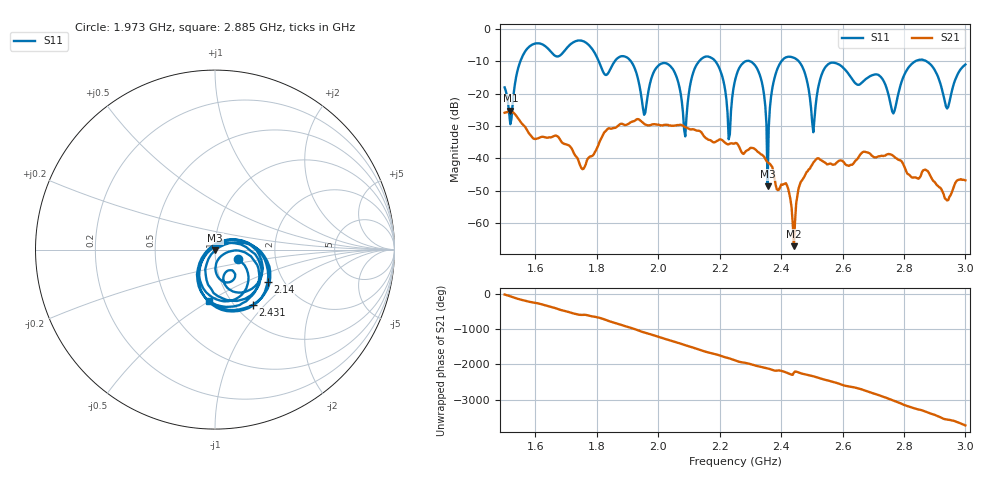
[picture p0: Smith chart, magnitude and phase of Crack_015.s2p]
# HZ S RI R 50
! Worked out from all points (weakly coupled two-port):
!   404 points, 1.5 GHz to 3 GHz, reference 50 ohm
!   highest |S21| = -25.28 dB at 1.519 GHz (marker M1); lowest = -67.2 dB at 2.442 GHz (marker M2)
!   lowest |S11| = -48.6 dB at 2.356 GHz (marker M3), VSWR 1.01, Z = 50 - j0.369 ohm
!   |S11| at or under -10 dB: 1.911 GHz to 2.133 GHz (221.3 MHz wide, 10.9 % of centre); 2.458 GHz to 2.836 GHz (378.5 MHz wide, 14.3 % of centre); 2.874 GHz to end of sweep (the widest 3 of 7)
!   S12 and S22 are empty: the file has one direction only
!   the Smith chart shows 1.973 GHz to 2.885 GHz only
!   S11 on the Smith chart (normalised r, x): 1.973 GHz: 1.29, -0.14; 2.14 GHz: 1.66, -0.68; 2.431 GHz: 1.20, -0.86; 2.885 GHz: 0.79, -0.50
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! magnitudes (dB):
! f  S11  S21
! 1.5 GHz  -18.0  -25.9
! 1.519 GHz  -29.4  -25.3
! 1.578 GHz  -5.6  -32.1
! 1.753 GHz  -3.6  -43.3
! 1.973 GHz  -17.1  -29.8
! 2.002 GHz  -11.1  -29.6
! 2.088 GHz  -33.2  -30.3
! 2.14 GHz  -9.3  -31.9
! 2.196 GHz  -11.5  -34.4
! 2.23 GHz  -34.1  -35.6
! 2.252 GHz  -15.2  -35.2
! 2.319 GHz  -11.7  -37.4
! 2.356 GHz  -48.6  -41.2
! 2.382 GHz  -13.9  -48.1
! 2.431 GHz  -8.6  -52.7
! 2.442 GHz  -8.9  -67.2
! 2.501 GHz  -28.8  -42.0
! 2.565 GHz  -10.4  -41.8
! 2.751 GHz  -20.7  -38.6
! 2.885 GHz  -10.8  -45.2
! 2.94 GHz  -24.6  -53.0
! 3 GHz  -11.0  -46.8
